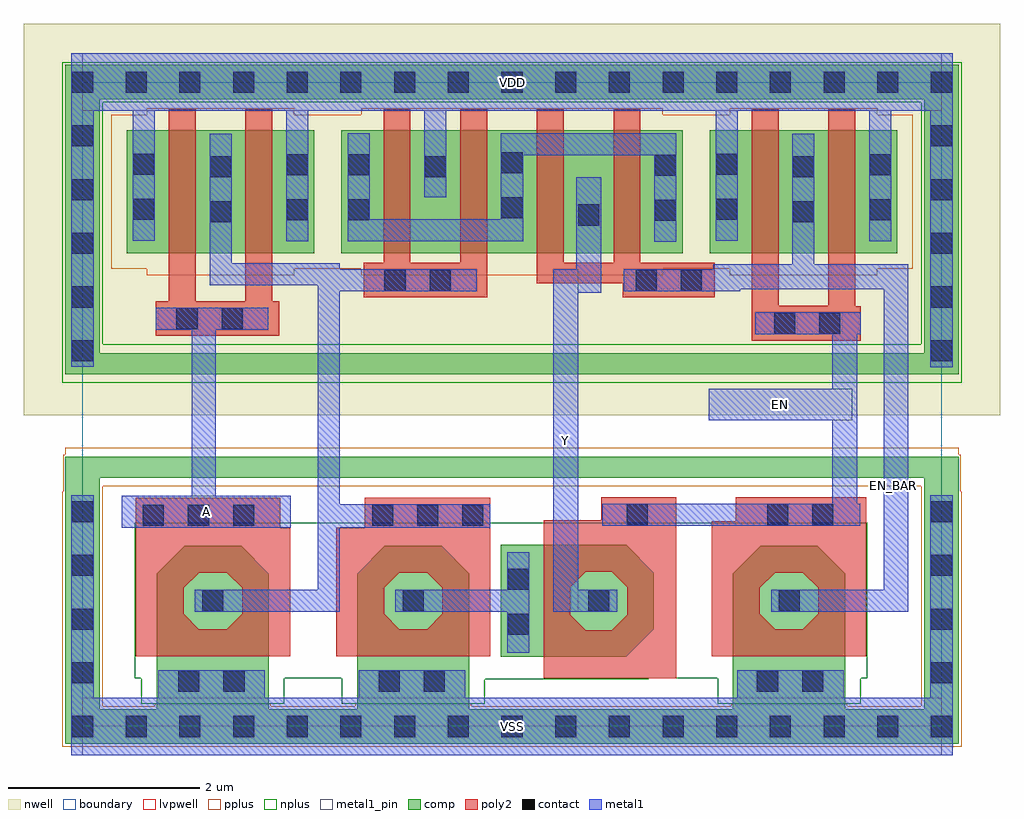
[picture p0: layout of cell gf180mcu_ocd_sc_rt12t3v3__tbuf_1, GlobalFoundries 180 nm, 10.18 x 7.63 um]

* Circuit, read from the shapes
.subckt gf180mcu_ocd_sc_rt12t3v3__tbuf_1 A EN EN_BAR VDD VSS Y
XM1 n1 A VSS VSS nfet_03v3 w=1.785u l=0.5337u
XM2 n2 n1 VSS VSS nfet_03v3 w=1.785u l=0.5384u
XM3 Y EN n2 VSS nfet_03v3 w=1.785u l=0.5333u
XM4 EN_BAR EN VSS VSS nfet_03v3 w=1.785u l=0.5337u
XM5 n1 A VDD VDD pfet_03v3 w=1.285u l=0.28u m=2
XM6 VDD n1 n3 VDD pfet_03v3 w=1.285u l=0.28u m=2
XM7 Y EN_BAR n3 VDD pfet_03v3 w=1.285u l=0.28u m=2
XM8 EN_BAR EN VDD VDD pfet_03v3 w=1.285u l=0.28u m=2
.ends

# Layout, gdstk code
import gdstk
lib = gdstk.Library(unit=1e-6, precision=1e-09)
def R(c, l, rs):  # rectangles x0, y0, x1, y1
    for r in rs: c.add(gdstk.rectangle(r[:2], r[2:], *l))
def A(c, l, x, y, w, h, nx, ny, dx, dy):  # array of equal rectangles
    R(c, l, [(x+i*dx, y+j*dy, x+i*dx+w, y+j*dy+h) for i in range(nx) for j in range(ny)])
def P(c, l, *ps):  # polygons
    for p in ps: c.add(gdstk.Polygon(p, *l))
boundary = (0, 0)
nwell = (21, 0)
comp = (22, 0)
poly2 = (30, 0)
pplus = (31, 0)
nplus = (32, 0)
contact = (33, 0)
metal1 = (34, 0)
metal1_pin = (34, 10)
lvpwell = (204, 0)

gf180mcu_ocd_sc_rt12t3v3 = lib.new_cell('gf180mcu_ocd_sc_rt12t3v3__tbuf_1')
R(gf180mcu_ocd_sc_rt12t3v3, boundary, [(0,0,8.96,6.72)])
R(gf180mcu_ocd_sc_rt12t3v3, nwell, [(-0.61,3.245,9.57,7.33)])
R(gf180mcu_ocd_sc_rt12t3v3, comp, [(-0.18,-0.18,9.14,0.18), (-0.18,0.18,0.18,2.595), (0.775,0.18,1.945,1.595), (2.865,0.18,4.035,1.595), (6.785,0.18,7.955,1.595), (8.78,0.18,9.14,2.595), (4.365,0.725,5.67,1.015), (4.365,1.015,5.96,1.605), (1.065,1.595,1.655,1.885), (3.155,1.595,3.745,1.885), (7.075,1.595,7.665,1.885), (4.365,1.605,5.67,1.895), (-0.18,2.595,9.14,2.815), (-0.18,3.675,9.14,3.895), (-0.18,3.895,0.18,6.54), (8.78,3.895,9.14,6.54), (0.46,4.935,2.42,6.22), (2.7,4.935,6.26,6.22), (6.54,4.935,8.5,6.22), (-0.18,6.54,9.14,6.9)])
P(gf180mcu_ocd_sc_rt12t3v3, comp, [(0.775,1.595),(1.065,1.595),(1.065,1.885)],
  [(1.655,1.885),(1.655,1.595),(1.945,1.595)],
  [(2.865,1.595),(3.155,1.595),(3.155,1.885)],
  [(3.745,1.885),(3.745,1.595),(4.035,1.595)],
  [(5.67,1.895),(5.67,1.605),(5.96,1.605)],
  [(5.67,0.725),(5.67,1.015),(5.96,1.015)],
  [(6.785,1.595),(7.075,1.595),(7.075,1.885)],
  [(7.665,1.885),(7.665,1.595),(7.955,1.595)])
A(gf180mcu_ocd_sc_rt12t3v3, poly2, 3.14, 4.835, 0.28, 1.605, 4, 1, 0.8, 0)
R(gf180mcu_ocd_sc_rt12t3v3, poly2, [(4.81,0.505,6.195,1.005), (0.555,0.735,2.165,1.015), (2.645,0.735,4.255,1.015), (6.565,0.735,8.175,1.015), (4.81,1.005,5.09,1.615), (5.67,1.005,6.195,1.155), (0.555,1.015,1.055,1.595), (1.665,1.015,2.165,1.595), (2.645,1.015,3.145,1.595), (3.755,1.015,4.255,1.595), (6.565,1.015,7.065,1.595), (7.675,1.015,8.175,1.595), (5.68,1.155,6.195,1.465), (5.67,1.465,6.195,1.615), (0.555,1.595,1.205,1.605), (1.515,1.595,2.165,1.605), (2.645,1.595,3.295,1.605), (3.605,1.595,4.255,1.605), (6.565,1.595,7.215,1.605), (7.525,1.595,8.175,1.605), (0.555,1.605,2.165,2.075), (2.645,1.605,4.255,2.075), (6.565,1.605,8.175,2.14), (4.81,1.615,6.195,2.15), (0.555,2.075,2.065,2.385), (2.945,2.075,4.255,2.385), (6.815,2.14,8.175,2.39), (5.41,2.15,6.195,2.39), (6.98,4.025,8.115,4.385), (0.765,4.075,2.05,4.435), (6.98,4.385,8.06,4.39), (6.98,4.39,7.26,6.44), (7.78,4.39,8.06,6.44), (0.9,4.435,1.18,6.44), (1.7,4.435,1.98,6.44), (2.935,4.475,4.22,4.835), (5.635,4.475,6.595,4.625), (4.74,4.625,6.595,4.835)])
P(gf180mcu_ocd_sc_rt12t3v3, poly2, [(1.205,1.595),(1.205,1.605),(1.215,1.605)],
  [(1.505,1.605),(1.515,1.605),(1.515,1.595)],
  [(1.055,1.445),(1.055,1.595),(1.205,1.595)],
  [(1.515,1.595),(1.665,1.595),(1.665,1.445)],
  [(1.055,1.175),(1.055,1.015),(1.215,1.015)],
  [(1.505,1.015),(1.665,1.015),(1.665,1.175)],
  [(3.295,1.595),(3.295,1.605),(3.305,1.605)],
  [(3.595,1.605),(3.605,1.605),(3.605,1.595)],
  [(3.145,1.445),(3.145,1.595),(3.295,1.595)],
  [(3.605,1.595),(3.755,1.595),(3.755,1.445)],
  [(3.145,1.175),(3.145,1.015),(3.305,1.015)],
  [(3.595,1.015),(3.755,1.015),(3.755,1.175)],
  [(5.09,1.455),(5.09,1.615),(5.25,1.615)],
  [(5.52,1.615),(5.67,1.615),(5.67,1.465)],
  [(5.67,1.465),(5.68,1.465),(5.68,1.455)],
  [(5.09,1.165),(5.09,1.005),(5.25,1.005)],
  [(5.67,1.155),(5.68,1.155),(5.68,1.165)],
  [(5.52,1.005),(5.67,1.005),(5.67,1.155)],
  [(7.215,1.595),(7.215,1.605),(7.225,1.605)],
  [(7.515,1.605),(7.525,1.605),(7.525,1.595)],
  [(7.065,1.445),(7.065,1.595),(7.215,1.595)],
  [(7.525,1.595),(7.675,1.595),(7.675,1.445)],
  [(7.065,1.175),(7.065,1.015),(7.225,1.015)],
  [(7.515,1.015),(7.675,1.015),(7.675,1.175)])
R(gf180mcu_ocd_sc_rt12t3v3, pplus, [(-0.21,-0.21,9.17,0.21), (-0.21,0.21,0.21,2.45), (0.755,0.21,1.965,0.235), (2.845,0.21,4.055,0.235), (6.765,0.21,7.975,0.235), (8.75,0.21,9.17,2.45), (-0.2,2.45,0.21,2.505), (8.75,2.45,9.16,2.505), (-0.2,2.505,9.16,2.835), (-0.18,2.835,9.14,2.905), (0.67,4.705,2.21,4.775), (2.91,4.705,6.05,4.775), (6.75,4.705,8.29,4.775), (0.3,4.775,8.66,6.38), (0.67,6.38,2.21,6.45), (2.91,6.38,6.05,6.45), (6.75,6.38,8.29,6.45)])
R(gf180mcu_ocd_sc_rt12t3v3, nplus, [(0.615,0.235,2.105,0.505), (2.705,0.235,4.195,0.495), (6.625,0.235,8.115,0.505), (2.705,0.495,5.9,0.505), (0.545,0.505,8.185,2.125), (-0.21,3.585,9.17,3.985), (-0.21,3.985,0.21,6.51), (8.75,3.985,9.17,6.51), (-0.21,6.51,9.17,6.93)])
P(gf180mcu_ocd_sc_rt12t3v3, nplus, [(5.9,0.495),(5.9,0.505),(5.91,0.505)])
A(gf180mcu_ocd_sc_rt12t3v3, contact, -0.11, -0.11, 0.22, 0.22, 17, 2, 0.56, 6.72)
A(gf180mcu_ocd_sc_rt12t3v3, contact, -0.11, 0.45, 0.22, 0.22, 1, 4, 0, 0.56)
A(gf180mcu_ocd_sc_rt12t3v3, contact, 8.85, 0.45, 0.22, 0.22, 1, 4, 0, 0.56)
A(gf180mcu_ocd_sc_rt12t3v3, contact, 0.63, 2.095, 0.22, 0.22, 3, 1, 0.47, 0)
A(gf180mcu_ocd_sc_rt12t3v3, contact, 3.02, 2.095, 0.22, 0.22, 3, 1, 0.47, 0)
A(gf180mcu_ocd_sc_rt12t3v3, contact, -0.11, 3.81, 0.22, 0.22, 1, 5, 0, 0.56)
A(gf180mcu_ocd_sc_rt12t3v3, contact, 8.85, 3.81, 0.22, 0.22, 1, 5, 0, 0.56)
R(gf180mcu_ocd_sc_rt12t3v3, contact, [(1,0.36,1.22,0.58), (1.47,0.36,1.69,0.58), (3.09,0.36,3.31,0.58), (3.56,0.36,3.78,0.58), (7.035,0.36,7.255,0.58), (7.505,0.36,7.725,0.58), (4.435,0.955,4.655,1.175), (1.25,1.2,1.47,1.42), (3.34,1.2,3.56,1.42), (5.275,1.2,5.495,1.42), (7.26,1.2,7.48,1.42), (4.435,1.425,4.655,1.645), (5.675,2.1,5.895,2.32), (7.14,2.1,7.36,2.32), (7.61,2.1,7.83,2.32), (7.215,4.095,7.435,4.315), (7.685,4.095,7.905,4.315), (0.98,4.145,1.2,4.365), (1.45,4.145,1.67,4.365), (3.15,4.545,3.37,4.765), (3.62,4.545,3.84,4.765), (5.77,4.545,5.99,4.765), (6.24,4.545,6.46,4.765), (5.17,5.225,5.39,5.445), (1.33,5.26,1.55,5.48), (7.41,5.26,7.63,5.48), (5.97,5.275,6.19,5.495), (2.13,5.28,2.35,5.5), (2.77,5.28,2.99,5.5), (8.21,5.28,8.43,5.5), (0.53,5.285,0.75,5.505), (6.61,5.285,6.83,5.505), (4.37,5.3,4.59,5.52), (1.33,5.73,1.55,5.95), (3.57,5.73,3.79,5.95), (7.41,5.73,7.63,5.95), (5.97,5.745,6.19,5.965), (2.13,5.75,2.35,5.97), (2.77,5.75,2.99,5.97), (8.21,5.75,8.43,5.97), (0.53,5.755,0.75,5.975), (6.61,5.755,6.83,5.975), (4.37,5.77,4.59,5.99)])
R(gf180mcu_ocd_sc_rt12t3v3, metal1, [(-0.115,-0.3,9.075,0.3), (-0.115,0.3,0.115,2.41), (0.79,0.3,1.9,0.585), (2.88,0.3,3.99,0.585), (6.83,0.3,7.94,0.585), (8.845,0.3,9.075,2.41), (4.43,0.77,4.66,1.195), (1.17,1.195,2.685,1.425), (3.26,1.195,4.66,1.425), (4.91,1.195,5.58,1.425), (7.185,1.195,8.615,1.425), (2.455,1.425,2.685,2.075), (4.43,1.425,4.66,1.815), (4.91,1.425,5.17,4.525), (8.355,1.425,8.615,4.56), (0.41,2.075,2.17,2.405), (2.455,2.075,4.255,2.32), (5.42,2.095,8.11,2.325), (2.455,2.32,2.685,4.54), (7.82,2.325,8.08,3.195), (1.14,2.405,1.39,4.14), (6.53,3.195,8.08,3.525), (7.82,3.525,8.08,4.09), (8.845,3.745,9.075,6.42), (-0.115,3.75,0.115,6.42), (7.015,4.09,8.115,4.32), (0.765,4.14,1.94,4.37), (4.91,4.525,5.41,4.77), (2.455,4.54,4.11,4.6), (5.645,4.54,6.86,4.56), (5.645,4.56,8.615,4.77), (1.325,4.6,4.11,4.77), (1.325,4.77,2.685,4.83), (5.15,4.77,5.41,5.73), (6.58,4.77,8.615,4.82), (7.405,4.82,7.635,6.18), (1.325,4.83,1.555,6.18), (5.965,5.055,6.195,5.96), (2.125,5.06,2.355,6.42), (2.765,5.06,4.595,5.29), (8.205,5.06,8.435,6.42), (0.525,5.065,0.755,6.42), (6.605,5.065,6.835,6.42), (2.765,5.29,2.995,6.19), (4.365,5.29,4.595,5.96), (3.565,5.52,3.795,6.42), (4.365,5.96,6.195,6.19), (-0.115,6.42,9.075,7.02)])
R(gf180mcu_ocd_sc_rt12t3v3, metal1_pin, [(0,-0.3,8.96,0.3), (4.91,1.195,5.17,4.77), (0.41,2.075,2.17,2.405), (6.53,3.195,8.03,3.525), (0,6.42,8.96,7.02)])
R(gf180mcu_ocd_sc_rt12t3v3, lvpwell, [(-0.18,-0.18,9.14,2.815)])
gf180mcu_ocd_sc_rt12t3v3.add(gdstk.Label('EN_BAR', (8.455,2.51), layer=34, texttype=0))
gf180mcu_ocd_sc_rt12t3v3.add(gdstk.Label('A', (1.29,2.24), layer=34, texttype=10))
gf180mcu_ocd_sc_rt12t3v3.add(gdstk.Label('EN', (7.28,3.36), layer=34, texttype=10))
gf180mcu_ocd_sc_rt12t3v3.add(gdstk.Label('Y', (5.04,2.982), layer=34, texttype=10))
gf180mcu_ocd_sc_rt12t3v3.add(gdstk.Label('VDD', (4.48,6.72), layer=34, texttype=10))
gf180mcu_ocd_sc_rt12t3v3.add(gdstk.Label('VSS', (4.48,0), layer=34, texttype=10))

lib.write_gds('gf180mcu_ocd_sc_rt12t3v3__tbuf_1.gds')
